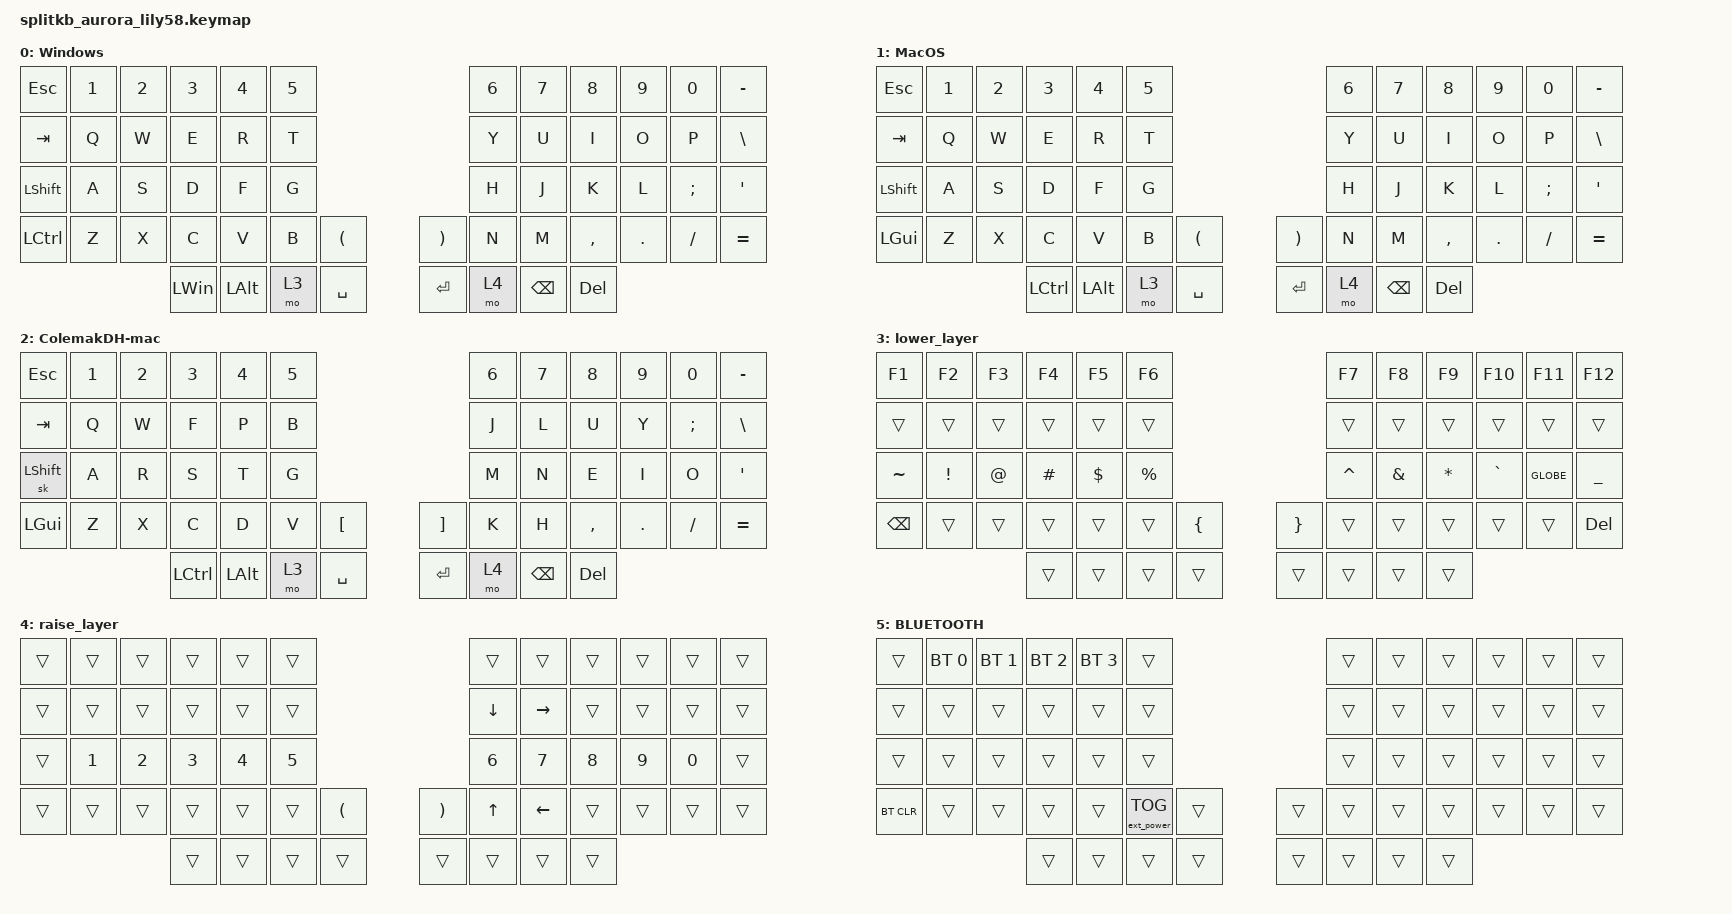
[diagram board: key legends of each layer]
/*
 * Copyright (c) 2022 The ZMK Contributors
 *
 * SPDX-License-Identifier: MIT
 */

#include <behaviors.dtsi>
#include <dt-bindings/zmk/bt.h>
#include <dt-bindings/zmk/ext_power.h>
#include <dt-bindings/zmk/keys.h>

/ {
    combos {
        compatible = "zmk,combos";

        toggle_qwerty {
            bindings = <&tog 1>;
            key-positions = <11 6>;
        };

        toggle_colemak {
            bindings = <&tog 2>;
            key-positions = <49 44>;
        };

        toggle_bluetooth {
            bindings = <&tog 5>;
            key-positions = <0 5>;
        };
    };

    keymap {
        compatible = "zmk,keymap";

        Windows {
            // ------------------------------------------------------------------------------------------------------------
            // |  ESC  |  1  |  2  |  3   |  4   |  5   |                   |  6   |  7    |  8    |  9   |   0   |   `   |
            // |  TAB  |  Q  |  W  |  E   |  R   |  T   |                   |  Y   |  U    |  I    |  O   |   P   |   -   |
            // |  CTRL |  A  |  S  |  D   |  F   |  G   |                   |  H   |  J    |  K    |  L   |   ;   |   '   |
            // | SHIFT |  Z  |  X  |  C   |  V   |  B   |   "["  |  |  "]"  |  N   |  M    |  ,    |  .   |   /   | SHIFT |
            //                     | ALT  | GUI  | LOWER|  SPACE |  | ENTER | RAISE| BSPC  | GUI   |

            bindings = <
&kp ESC         &kp N1  &kp N2  &kp N3        &kp N4        &kp N5                                                 &kp N6  &kp N7    &kp N8      &kp N9   &kp N0    &kp MINUS
&kp TAB         &kp Q   &kp W   &kp E         &kp R         &kp T                                                  &kp Y   &kp U     &kp I       &kp O    &kp P     &kp BACKSLASH
&kp LEFT_SHIFT  &kp A   &kp S   &kp D         &kp F         &kp G                                                  &kp H   &kp J     &kp K       &kp L    &kp SEMI  &kp SQT
&kp LCTRL       &kp Z   &kp X   &kp C         &kp V         &kp B   &kp LEFT_PARENTHESIS    &kp RIGHT_PARENTHESIS  &kp N   &kp M     &kp COMMA   &kp DOT  &kp FSLH  &kp EQUAL
                                &kp LEFT_WIN  &kp LEFT_ALT  &mo 3   &kp SPACE               &kp RET                &mo 4   &kp BSPC  &kp DELETE
            >;
        };

        MacOS {
            bindings = <
&kp ESC    &kp N1  &kp N2  &kp N3     &kp N4        &kp N5                                                 &kp N6  &kp N7    &kp N8      &kp N9   &kp N0    &kp MINUS
&kp TAB    &kp Q   &kp W   &kp E      &kp R         &kp T                                                  &kp Y   &kp U     &kp I       &kp O    &kp P     &kp BACKSLASH
&kp LSHFT  &kp A   &kp S   &kp D      &kp F         &kp G                                                  &kp H   &kp J     &kp K       &kp L    &kp SEMI  &kp SQT
&kp LGUI   &kp Z   &kp X   &kp C      &kp V         &kp B   &kp LEFT_PARENTHESIS    &kp RIGHT_PARENTHESIS  &kp N   &kp M     &kp COMMA   &kp DOT  &kp FSLH  &kp EQUAL
                           &kp LCTRL  &kp LEFT_ALT  &mo 3   &kp SPACE               &kp RET                &mo 4   &kp BSPC  &kp DELETE
            >;
        };

        ColemakDH-mac {
            bindings = <
&kp ESC    &kp N1  &kp N2  &kp N3     &kp N4        &kp N5                                         &kp N6  &kp N7    &kp N8      &kp N9   &kp N0    &kp MINUS
&kp TAB    &kp Q   &kp W   &kp F      &kp P         &kp B                                          &kp J   &kp L     &kp U       &kp Y    &kp SEMI  &kp BSLH
&sk LSHFT  &kp A   &kp R   &kp S      &kp T         &kp G                                          &kp M   &kp N     &kp E       &kp I    &kp O     &kp SQT
&kp LGUI   &kp Z   &kp X   &kp C      &kp D         &kp V   &kp LEFT_BRACKET    &kp RIGHT_BRACKET  &kp K   &kp H     &kp COMMA   &kp DOT  &kp FSLH  &kp EQUAL
                           &kp LCTRL  &kp LEFT_ALT  &mo 3   &kp SPACE           &kp RET            &mo 4   &kp BSPC  &kp DELETE
            >;
        };

        lower_layer {
            // ------------------------------------------------------------------------------------------------------------
            // | BTCLR | BT1 | BT2 |  BT3 |  BT4 |  BT5 |                   |      |       |       |      |       |       |
            // |  F1   |  F2 |  F3 |  F4  |  F5  |  F6  |                   |  F7  |  F8   |  F9   |  F10 |  F11  |  F12  |
            // |   `   |  !  |  @  |  #   |  $   |  %   |                   |  ^   |  &    |  *    |  (   |   )   |   ~   |
            // |       |     |     |      |      |      |        |  |       |      |  _    |  +    |  {   |   }   |  "|"  |
            //                     |      |      |      |        |  |       |      |       |       |

            bindings = <
&kp F1         &kp F2           &kp F3       &kp F4    &kp F5      &kp F6                                          &kp F7     &kp F8    &kp F9    &kp F10    &kp F11    &kp F12
&trans         &trans           &trans       &trans    &trans      &trans                                          &trans     &trans    &trans    &trans     &trans     &trans
&kp TILDE      &kp EXCLAMATION  &kp AT_SIGN  &kp HASH  &kp DOLLAR  &kp PERCENT                                     &kp CARET  &kp AMPS  &kp STAR  &kp GRAVE  &kp GLOBE  &kp UNDER
&kp BACKSPACE  &trans           &trans       &trans    &trans      &trans       &kp LEFT_BRACE    &kp RIGHT_BRACE  &trans     &trans    &trans    &trans     &trans     &kp DELETE
                                             &trans    &trans      &trans       &trans            &trans           &trans     &trans    &trans
            >;
        };

        raise_layer {
            // ------------------------------------------------------------------------------------------------------------
            // |       |     |     |      |      |      |                   |      |       |       |      |       |       |
            // |   `   |  1  |  2  |  3   |  4   |  5   |                   |  6   |   7   |   8   |  9   |   0   |       |
            // |   F1  |  F2 |  F3 |  F4  |  F5  |  F6  |                   |      |   <-  |   v   |  ^   |  ->   |       |
            // |   F7  |  F8 |  F9 |  F10 |  F11 |  F12 |        |  |       |  +   |   -   |   =   |  [   |   ]   |   \   |
            //                     |      |      |      |        |  |       |      |       |       |

            bindings = <
&trans  &trans        &trans        &trans        &trans        &trans                                                 &trans          &trans           &trans        &trans        &trans        &trans
&trans  &trans        &trans        &trans        &trans        &trans                                                 &kp DOWN_ARROW  &kp RIGHT_ARROW  &trans        &trans        &trans        &trans
&trans  &kp NUMBER_1  &kp NUMBER_2  &kp NUMBER_3  &kp NUMBER_4  &kp N5                                                 &kp NUMBER_6    &kp NUMBER_7     &kp NUMBER_8  &kp NUMBER_9  &kp NUMBER_0  &trans
&trans  &trans        &trans        &trans        &trans        &trans  &kp LEFT_PARENTHESIS    &kp RIGHT_PARENTHESIS  &kp UP_ARROW    &kp LEFT_ARROW   &trans        &trans        &trans        &trans
                                    &trans        &trans        &trans  &trans                  &trans                 &trans          &trans           &trans
            >;
        };

        BLUETOOTH {
            bindings = <
&trans      &bt BT_SEL 0  &bt BT_SEL 1  &bt BT_SEL 2  &bt BT_SEL 3  &trans                               &trans  &trans  &trans  &trans  &trans  &trans
&trans      &trans        &trans        &trans        &trans        &trans                               &trans  &trans  &trans  &trans  &trans  &trans
&trans      &trans        &trans        &trans        &trans        &trans                               &trans  &trans  &trans  &trans  &trans  &trans
&bt BT_CLR  &trans        &trans        &trans        &trans        &ext_power EP_TOG  &trans    &trans  &trans  &trans  &trans  &trans  &trans  &trans
                                        &trans        &trans        &trans             &trans    &trans  &trans  &trans  &trans
            >;
        };
    };

    conditional_layers { compatible = "zmk,conditional-layers"; };
};
